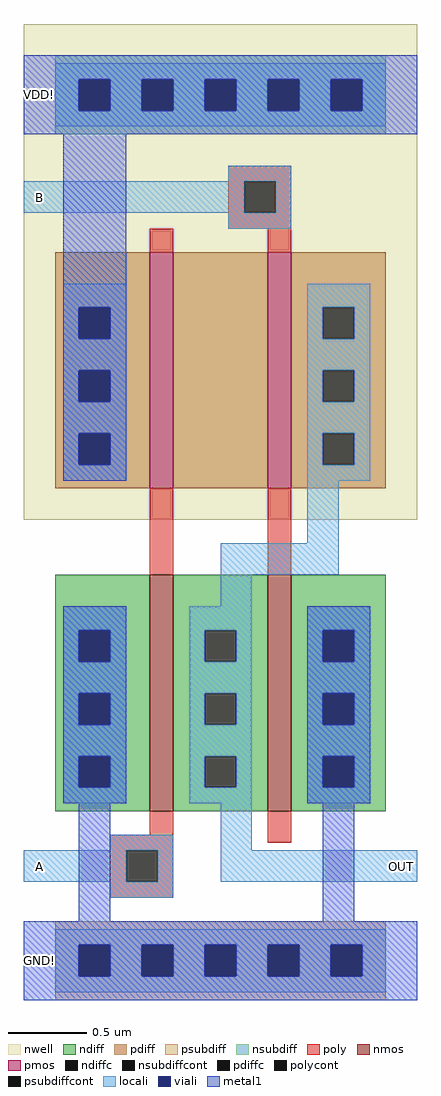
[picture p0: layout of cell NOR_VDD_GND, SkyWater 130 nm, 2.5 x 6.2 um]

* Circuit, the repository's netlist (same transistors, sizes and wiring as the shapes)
* NGSPICE file created from NOR_VDD_GND.ext - technology: sky130A

.subckt NOR_VDD_GND A B OUT VDD GND
X0 a_320_360# A VDD VDD sky130_fd_pr__pfet_01v8 ad=9e+11p pd=4.2e+06u as=9e+11p ps=4.2e+06u w=1.5e+06u l=150000u
X1 GND B OUT GND sky130_fd_pr__nfet_01v8 ad=1.8e+12p pd=8.4e+06u as=9e+11p ps=4.2e+06u w=1.5e+06u l=150000u
X2 OUT B a_320_360# VDD sky130_fd_pr__pfet_01v8 ad=9e+11p pd=4.2e+06u as=0p ps=0u w=1.5e+06u l=150000u
X3 OUT A GND GND sky130_fd_pr__nfet_01v8 ad=0p pd=0u as=0p ps=0u w=1.5e+06u l=150000u
.ends

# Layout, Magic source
magic
tech sky130A
<< nwell >>
rect 65 160 315 475
<< nmos >>
rect 145 -25 160 125
rect 220 -25 235 125
<< pmos >>
rect 145 180 160 330
rect 220 180 235 330
<< ndiff >>
rect 85 90 145 125
rect 85 70 100 90
rect 120 70 145 90
rect 85 50 145 70
rect 85 30 100 50
rect 120 30 145 50
rect 85 10 145 30
rect 85 -10 100 10
rect 120 -10 145 10
rect 85 -25 145 -10
rect 160 90 220 125
rect 160 70 180 90
rect 200 70 220 90
rect 160 50 220 70
rect 160 30 180 50
rect 200 30 220 50
rect 160 10 220 30
rect 160 -10 180 10
rect 200 -10 220 10
rect 160 -25 220 -10
rect 235 90 295 125
rect 235 70 255 90
rect 275 70 295 90
rect 235 50 295 70
rect 235 30 255 50
rect 275 30 295 50
rect 235 10 295 30
rect 235 -10 255 10
rect 275 -10 295 10
rect 235 -25 295 -10
<< pdiff >>
rect 85 295 145 330
rect 85 275 100 295
rect 120 275 145 295
rect 85 255 145 275
rect 85 235 100 255
rect 120 235 145 255
rect 85 215 145 235
rect 85 195 100 215
rect 120 195 145 215
rect 85 180 145 195
rect 160 180 220 330
rect 235 295 295 330
rect 235 275 255 295
rect 275 275 295 295
rect 235 255 295 275
rect 235 235 255 255
rect 275 235 295 255
rect 235 215 295 235
rect 235 195 255 215
rect 275 195 295 215
rect 235 180 295 195
<< ndiffc >>
rect 100 70 120 90
rect 100 30 120 50
rect 100 -10 120 10
rect 180 70 200 90
rect 180 30 200 50
rect 180 -10 200 10
rect 255 70 275 90
rect 255 30 275 50
rect 255 -10 275 10
<< pdiffc >>
rect 100 275 120 295
rect 100 235 120 255
rect 100 195 120 215
rect 255 275 275 295
rect 255 235 275 255
rect 255 195 275 215
<< psubdiff >>
rect 85 -110 295 -95
rect 85 -130 100 -110
rect 120 -130 140 -110
rect 160 -130 180 -110
rect 200 -130 220 -110
rect 240 -130 260 -110
rect 280 -130 295 -110
rect 85 -145 295 -130
<< nsubdiff >>
rect 85 440 295 455
rect 85 420 100 440
rect 120 420 140 440
rect 160 420 180 440
rect 200 420 220 440
rect 240 420 260 440
rect 280 420 295 440
rect 85 405 295 420
<< psubdiffcont >>
rect 100 -130 120 -110
rect 140 -130 160 -110
rect 180 -130 200 -110
rect 220 -130 240 -110
rect 260 -130 280 -110
<< nsubdiffcont >>
rect 100 420 120 440
rect 140 420 160 440
rect 180 420 200 440
rect 220 420 240 440
rect 260 420 280 440
<< poly >>
rect 195 375 235 385
rect 195 355 205 375
rect 225 355 235 375
rect 195 345 235 355
rect 145 330 160 345
rect 220 330 235 345
rect 145 125 160 180
rect 220 125 235 180
rect 145 -40 160 -25
rect 120 -50 160 -40
rect 220 -45 235 -25
rect 120 -70 130 -50
rect 150 -70 160 -50
rect 120 -80 160 -70
<< polycont >>
rect 205 355 225 375
rect 130 -70 150 -50
<< locali >>
rect 85 440 295 450
rect 85 420 100 440
rect 120 420 140 440
rect 160 420 180 440
rect 200 420 220 440
rect 240 420 260 440
rect 280 420 295 440
rect 85 410 295 420
rect 195 375 235 385
rect 65 355 205 375
rect 225 355 235 375
rect 195 345 235 355
rect 90 295 130 310
rect 90 275 100 295
rect 120 275 130 295
rect 90 255 130 275
rect 90 235 100 255
rect 120 235 130 255
rect 90 215 130 235
rect 90 195 100 215
rect 120 195 130 215
rect 90 185 130 195
rect 245 295 285 310
rect 245 275 255 295
rect 275 275 285 295
rect 245 255 285 275
rect 245 235 255 255
rect 275 235 285 255
rect 245 215 285 235
rect 245 195 255 215
rect 275 195 285 215
rect 245 185 285 195
rect 245 145 265 185
rect 190 125 265 145
rect 190 105 210 125
rect 90 90 130 105
rect 90 70 100 90
rect 120 70 130 90
rect 90 50 130 70
rect 90 30 100 50
rect 120 30 130 50
rect 90 10 130 30
rect 90 -10 100 10
rect 120 -10 130 10
rect 90 -20 130 -10
rect 170 90 210 105
rect 170 70 180 90
rect 200 70 210 90
rect 170 50 210 70
rect 170 30 180 50
rect 200 30 210 50
rect 170 10 210 30
rect 170 -10 180 10
rect 200 -10 210 10
rect 170 -20 210 -10
rect 245 90 285 105
rect 245 70 255 90
rect 275 70 285 90
rect 245 50 285 70
rect 245 30 255 50
rect 275 30 285 50
rect 245 10 285 30
rect 245 -10 255 10
rect 275 -10 285 10
rect 245 -20 285 -10
rect 120 -50 160 -40
rect 65 -70 130 -50
rect 150 -70 160 -50
rect 190 -50 210 -20
rect 190 -70 315 -50
rect 120 -80 160 -70
rect 85 -110 295 -100
rect 85 -130 100 -110
rect 120 -130 140 -110
rect 160 -130 180 -110
rect 200 -130 220 -110
rect 240 -130 260 -110
rect 280 -130 295 -110
rect 85 -140 295 -130
<< viali >>
rect 100 420 120 440
rect 140 420 160 440
rect 180 420 200 440
rect 220 420 240 440
rect 260 420 280 440
rect 100 275 120 295
rect 100 235 120 255
rect 100 195 120 215
rect 100 70 120 90
rect 100 30 120 50
rect 100 -10 120 10
rect 255 70 275 90
rect 255 30 275 50
rect 255 -10 275 10
rect 100 -130 120 -110
rect 140 -130 160 -110
rect 180 -130 200 -110
rect 220 -130 240 -110
rect 260 -130 280 -110
<< metal1 >>
rect 65 440 315 455
rect 65 420 100 440
rect 120 420 140 440
rect 160 420 180 440
rect 200 420 220 440
rect 240 420 260 440
rect 280 420 315 440
rect 65 405 315 420
rect 90 295 130 405
rect 90 275 100 295
rect 120 275 130 295
rect 90 255 130 275
rect 90 235 100 255
rect 120 235 130 255
rect 90 215 130 235
rect 90 195 100 215
rect 120 195 130 215
rect 90 185 130 195
rect 90 90 130 105
rect 90 70 100 90
rect 120 70 130 90
rect 90 50 130 70
rect 90 30 100 50
rect 120 30 130 50
rect 90 10 130 30
rect 90 -10 100 10
rect 120 -10 130 10
rect 90 -20 130 -10
rect 245 90 285 105
rect 245 70 255 90
rect 275 70 285 90
rect 245 50 285 70
rect 245 30 255 50
rect 275 30 285 50
rect 245 10 285 30
rect 245 -10 255 10
rect 275 -10 285 10
rect 245 -20 285 -10
rect 100 -95 120 -20
rect 255 -95 275 -20
rect 65 -110 315 -95
rect 65 -130 100 -110
rect 120 -130 140 -110
rect 160 -130 180 -110
rect 200 -130 220 -110
rect 240 -130 260 -110
rect 280 -130 315 -110
rect 65 -145 315 -130
<< labels >>
rlabel metal1 65 -130 85 -110 7 GND!
port 5 w
rlabel metal1 65 420 85 440 7 VDD!
port 4 w
rlabel locali 295 -70 315 -50 3 OUT
port 3 e
rlabel locali 65 355 85 375 7 B
port 2 w
rlabel locali 65 -70 85 -50 7 A
port 1 w
<< end >>
